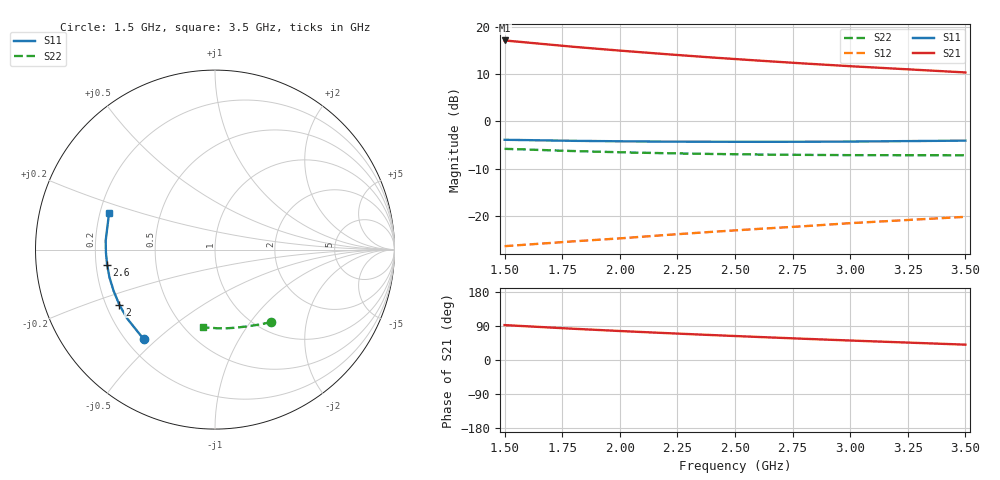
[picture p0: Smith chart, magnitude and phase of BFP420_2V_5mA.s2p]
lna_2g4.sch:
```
<Qucs Schematic 26.1.1>
<Properties>
  <View=-644,-583,565,185,0.983457,0,0>
  <Grid=10,10,1>
  <DataSet=lna_2g4.dat>
  <DataDisplay=lna_2g4.dpl>
  <OpenDisplay=0>
  <Script=lna_2g4.m>
  <RunScript=0>
  <showFrame=0>
  <FrameText0=Title>
  <FrameText1=Drawn By:>
  <FrameText2=Date:>
  <FrameText3=Revision:>
</Properties>
<Symbol>
</Symbol>
<Components>
  <SPfile X1 1 -300 -400 -26 -63 0 0 "C:/Users/Shreyas Pattar/Documents/Communication Projects/2.4GHz_LNA_QucsS_Design/data/BFP420_2V_5mA.s2p" 1 "polar" 0 "linear" 0 "open" 0 "2" 0>
  <Pac P2 1 -120 -370 18 -26 0 1 "2" 1 "50 Ohm" 1 "0 dBm" 0 "1 MHz" 0 "26.85" 0 "true" 0 "false" 0>
  <.SP SP1 1 -400 -100 0 56 0 0 "lin" 1 "1.5 GHz" 1 "3.5 GHz" 1 "201" 1 "no" 0 "1" 0 "2" 0 "no" 0 "no" 0>
  <Pac P3 1 -590 -370 18 -26 0 1 "1" 1 "50 Ohm" 1 "0 dBm" 0 "1 MHz" 0 "26.85" 0 "true" 0 "false" 0>
  <GND * 1 -300 -370 0 0 0 0>
  <GND * 1 -120 -340 0 0 0 0>
  <Eqn Eqn1 1 -220 -80 -28 18 0 0 "Gain_dB=dB(S[2,1])" 1 "S11_dB=dB(S[1,1])" 1 "S22_dB=dB(S[2,2])" 1 "Delta=S[1,1]*S[2,2] - S[1,2]*S[2,1]" 1 "K=(1 - sqr(abs(S[1,1])) - sqr(abs(S[2,2])) + sqr(abs(Delta))) / (2 * abs(S[1,2]*S[2,1]))" 1 "yes" 0>
  <GND * 1 -590 -340 0 0 0 0>
  <L L1 1 -490 -370 10 -26 0 1 "1.9 nH" 1 "" 0>
  <GND * 1 -490 -340 0 0 0 0>
  <C C1 1 -380 -400 -26 17 0 0 "4.8 pF" 1 "" 0 "neutral" 0>
</Components>
<Wires>
  <-270 -400 -120 -400 "" 0 0 0 "">
  <-590 -400 -490 -400 "" 0 0 0 "">
  <-410 -400 -490 -400 "" 0 0 0 "">
  <-330 -400 -350 -400 "" 0 0 0 "">
</Wires>
<Diagrams>
</Diagrams>
<Paintings>
</Paintings>
```
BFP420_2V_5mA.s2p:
! Infineon BFP420 S-parameters
! Bias: Vce = 2.0V, Ic = 5.0mA, Zo = 50 Ohm
# GHz S MA R 50
! Freq  S11_mag S11_ang  S21_mag S21_ang  S12_mag S12_ang  S22_mag S22_ang
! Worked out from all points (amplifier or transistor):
!   9 points, 1.5 GHz to 3.5 GHz, reference 50 ohm
!   highest |S21| = 17.1 dB at 1.5 GHz (marker M1)
!   |S21| within 3 dB of that: start of sweep to 2.231 GHz
!   unconditionally stable (mu >= 1): nowhere
!   at 1.8 GHz: K = 0.60, MSG = 20.5 dB, |S12| = -25.4 dB
!   at 2.4 GHz: K = 0.67, MSG = 18.4 dB, |S12| = -23.3 dB
!   at 3.5 GHz: K = 0.68, MSG = 15.2 dB, |S12| = -20.2 dB
!   lowest NFmin = 1.10 dB at 2.4 GHz
!   S11 on the Smith chart (normalised r, x): 1.5 GHz: 0.27, -0.45; 2 GHz: 0.25, -0.25; 2.6 GHz: 0.25, -0.06; 3.5 GHz: 0.24, +0.16
1.5  0.638 -128.5  7.142 92.1  0.048 52.3  0.512 -52.1
1.8  0.622 -142.0  6.12 82.4  0.054 53.8  0.485 -59.4
2  0.615 -150.1  5.58 76.5  0.058 54.2  0.471 -64.2
2.2  0.61 -157.8  5.12 71.0  0.063 54.0  0.46 -69.0
2.4  0.608 -165.2  4.72 65.8  0.068 53.4  0.452 -73.8
2.6  0.607 -172.1  4.38 60.8  0.073 52.4  0.446 -78.5
2.8  0.608 -178.6  4.08 56.0  0.078 51.1  0.442 -83.1
3  0.611 175.2  3.82 51.4  0.084 49.5  0.439 -87.7
3.5  0.625 160.7  3.28 40.5  0.098 44.6  0.438 -99.1
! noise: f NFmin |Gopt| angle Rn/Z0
2.4  1.1  0.42  145  0.18
